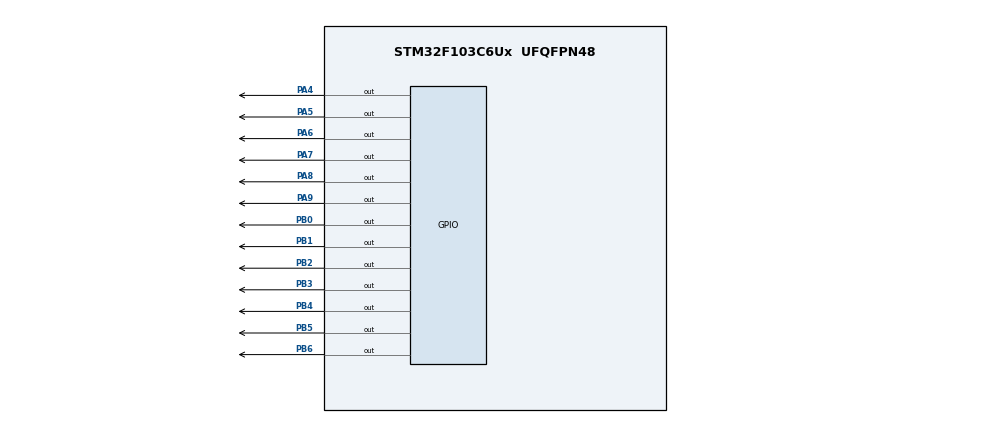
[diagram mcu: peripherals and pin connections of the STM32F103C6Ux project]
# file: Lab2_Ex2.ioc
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Mcu.Family=STM32F1
Mcu.Name=STM32F103C6Ux
Mcu.Package=UFQFPN48
NVIC.PriorityGroup=NVIC_PRIORITYGROUP_4
NVIC.TIM2_IRQn=true\:0\:0\:false\:false\:true\:true\:true
PA4.Signal=GPIO_Output
PA5.Signal=GPIO_Output
PA6.Signal=GPIO_Output
PA7.Signal=GPIO_Output
PA8.Signal=GPIO_Output
PA9.Signal=GPIO_Output
PB0.Signal=GPIO_Output
PB1.Signal=GPIO_Output
PB2.Signal=GPIO_Output
PB3.Signal=GPIO_Output
PB4.Signal=GPIO_Output
PB5.Signal=GPIO_Output
PB6.Signal=GPIO_Output
ProjectManager.HeapSize=0x200
ProjectManager.StackSize=0x400
ProjectManager.TargetToolchain=STM32CubeIDE
RCC.APB1Freq_Value=8000000
RCC.APB2Freq_Value=8000000
TIM2.Period=9
TIM2.Prescaler=7999
VP_SYS_VS_ND.Mode=No_Debug
VP_TIM2_VS_ClockSourceINT.Mode=Internal
board=custom

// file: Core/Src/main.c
/* USER CODE BEGIN Header */
/**
  ******************************************************************************
  * @file           : main.c
  * @brief          : Main program body
  ******************************************************************************
  * @attention
  *
  * <h2><center>&copy; Copyright (c) 2022 STMicroelectronics.
  * All rights reserved.</center></h2>
  *
  * This software component is licensed by ST under BSD 3-Clause license,
  * the "License"; You may not use this file except in compliance with the
  * License. You may obtain a copy of the License at:
  *                        opensource.org/licenses/BSD-3-Clause
  *
  ******************************************************************************
  */
/* USER CODE END Header */
#include "main.h"

/* USER CODE BEGIN Includes */
#include "Led7segment.h"
/* USER CODE END Includes */

TIM_HandleTypeDef htim2;

void SystemClock_Config(void);
static void MX_GPIO_Init(void);
static void MX_TIM2_Init(void);

int main(void)
{

  /* MCU Configuration--------------------------------------------------------*/

  /* Reset of all peripherals, Initializes the Flash interface and the Systick. */
  HAL_Init();

  /* Configure the system clock */
  SystemClock_Config();

  /* Initialize all configured peripherals */
  MX_GPIO_Init();
  MX_TIM2_Init();
  /* USER CODE BEGIN 2 */
  HAL_TIM_Base_Start_IT (& htim2 );
  /* USER CODE END 2 */

  /* Infinite loop */
  while (1)
  {

  }
}

void SystemClock_Config(void)
{
  RCC_OscInitTypeDef RCC_OscInitStruct = {0};
  RCC_ClkInitTypeDef RCC_ClkInitStruct = {0};

  /** Initializes the RCC Oscillators according to the specified parameters
  * in the RCC_OscInitTypeDef structure.
  */
  RCC_OscInitStruct.OscillatorType = RCC_OSCILLATORTYPE_HSI;
  RCC_OscInitStruct.HSIState = RCC_HSI_ON;
  RCC_OscInitStruct.HSICalibrationValue = RCC_HSICALIBRATION_DEFAULT;
  RCC_OscInitStruct.PLL.PLLState = RCC_PLL_NONE;
  if (HAL_RCC_OscConfig(&RCC_OscInitStruct) != HAL_OK)
  {
    Error_Handler();
  }
  /** Initializes the CPU, AHB and APB buses clocks
  */
  RCC_ClkInitStruct.ClockType = RCC_CLOCKTYPE_HCLK|RCC_CLOCKTYPE_SYSCLK
                              |RCC_CLOCKTYPE_PCLK1|RCC_CLOCKTYPE_PCLK2;
  RCC_ClkInitStruct.SYSCLKSource = RCC_SYSCLKSOURCE_HSI;
  RCC_ClkInitStruct.AHBCLKDivider = RCC_SYSCLK_DIV1;
  RCC_ClkInitStruct.APB1CLKDivider = RCC_HCLK_DIV1;
  RCC_ClkInitStruct.APB2CLKDivider = RCC_HCLK_DIV1;

  if (HAL_RCC_ClockConfig(&RCC_ClkInitStruct, FLASH_LATENCY_0) != HAL_OK)
  {
    Error_Handler();
  }
}

static void MX_TIM2_Init(void)
{

  TIM_ClockConfigTypeDef sClockSourceConfig = {0};
  TIM_MasterConfigTypeDef sMasterConfig = {0};

  htim2.Instance = TIM2;
  htim2.Init.Prescaler = 7999;
  htim2.Init.CounterMode = TIM_COUNTERMODE_UP;
  htim2.Init.Period = 9;
  htim2.Init.ClockDivision = TIM_CLOCKDIVISION_DIV1;
  htim2.Init.AutoReloadPreload = TIM_AUTORELOAD_PRELOAD_DISABLE;
  if (HAL_TIM_Base_Init(&htim2) != HAL_OK)
  {
    Error_Handler();
  }
  sClockSourceConfig.ClockSource = TIM_CLOCKSOURCE_INTERNAL;
  if (HAL_TIM_ConfigClockSource(&htim2, &sClockSourceConfig) != HAL_OK)
  {
    Error_Handler();
  }
  sMasterConfig.MasterOutputTrigger = TIM_TRGO_RESET;
  sMasterConfig.MasterSlaveMode = TIM_MASTERSLAVEMODE_DISABLE;
  if (HAL_TIMEx_MasterConfigSynchronization(&htim2, &sMasterConfig) != HAL_OK)
  {
    Error_Handler();
  }

}

static void MX_GPIO_Init(void)
{
  GPIO_InitTypeDef GPIO_InitStruct = {0};

  /* GPIO Ports Clock Enable */
  __HAL_RCC_GPIOA_CLK_ENABLE();
  __HAL_RCC_GPIOB_CLK_ENABLE();

  /*Configure GPIO pin Output Level */
  HAL_GPIO_WritePin(GPIOA, GPIO_PIN_4|GPIO_PIN_5|GPIO_PIN_6|GPIO_PIN_7
                          |GPIO_PIN_8|GPIO_PIN_9, GPIO_PIN_RESET);

  /*Configure GPIO pin Output Level */
  HAL_GPIO_WritePin(GPIOB, GPIO_PIN_0|GPIO_PIN_1|GPIO_PIN_2|GPIO_PIN_3
                          |GPIO_PIN_4|GPIO_PIN_5|GPIO_PIN_6, GPIO_PIN_RESET);

  /*Configure GPIO pins : PA4 PA5 PA6 PA7
                           PA8 PA9 */
  GPIO_InitStruct.Pin = GPIO_PIN_4|GPIO_PIN_5|GPIO_PIN_6|GPIO_PIN_7
                          |GPIO_PIN_8|GPIO_PIN_9;
  GPIO_InitStruct.Mode = GPIO_MODE_OUTPUT_PP;
  GPIO_InitStruct.Pull = GPIO_NOPULL;
  GPIO_InitStruct.Speed = GPIO_SPEED_FREQ_LOW;
  HAL_GPIO_Init(GPIOA, &GPIO_InitStruct);

  /*Configure GPIO pins : PB0 PB1 PB2 PB3
                           PB4 PB5 PB6 */
  GPIO_InitStruct.Pin = GPIO_PIN_0|GPIO_PIN_1|GPIO_PIN_2|GPIO_PIN_3
                          |GPIO_PIN_4|GPIO_PIN_5|GPIO_PIN_6;
  GPIO_InitStruct.Mode = GPIO_MODE_OUTPUT_PP;
  GPIO_InitStruct.Pull = GPIO_NOPULL;
  GPIO_InitStruct.Speed = GPIO_SPEED_FREQ_LOW;
  HAL_GPIO_Init(GPIOB, &GPIO_InitStruct);

}

/* USER CODE BEGIN 4 */
int counter =50;
int EN = 0;
const int MAX_LED = 4;
int index_led = 0;
int led_buffer [4] = {1 , 2, 3, 0};
void HAL_TIM_PeriodElapsedCallback ( TIM_HandleTypeDef * htim )
{
	counter --;
	if( counter <= 0) {
		counter = 50;
		HAL_GPIO_WritePin(GPIOA, GPIO_PIN_5, RESET);
		HAL_GPIO_TogglePin(GPIOA, GPIO_PIN_4);
		switch( EN ){
			case 0:
				//Display the first
				displaySeg7(led_buffer[index_led]);
				HAL_GPIO_WritePin(GPIOA, GPIO_PIN_6, RESET);
				HAL_GPIO_WritePin(GPIOA, GPIO_PIN_7, SET);
				HAL_GPIO_WritePin(GPIOA, GPIO_PIN_8, SET);
				HAL_GPIO_WritePin(GPIOA, GPIO_PIN_9, SET);
				EN++;
				index_led++;
				break;
			case 1:
				//Display the second
				displaySeg7(led_buffer[index_led]);
				HAL_GPIO_WritePin(GPIOA, GPIO_PIN_6, SET);
				HAL_GPIO_WritePin(GPIOA, GPIO_PIN_7, RESET);
				HAL_GPIO_WritePin(GPIOA, GPIO_PIN_8, SET);
				HAL_GPIO_WritePin(GPIOA, GPIO_PIN_9, SET);
				EN++;
				index_led++;
				break;
			case 2:
				//Display the third
				displaySeg7(led_buffer[index_led]);
				HAL_GPIO_WritePin(GPIOA, GPIO_PIN_6, SET);
				HAL_GPIO_WritePin(GPIOA, GPIO_PIN_7, SET);
				HAL_GPIO_WritePin(GPIOA, GPIO_PIN_8, RESET);
				HAL_GPIO_WritePin(GPIOA, GPIO_PIN_9, SET);
				EN++;
				index_led++;
				break;
			case 3:
				//Display the forth
				displaySeg7(led_buffer[index_led]);
				HAL_GPIO_WritePin(GPIOA, GPIO_PIN_6, SET);
				HAL_GPIO_WritePin(GPIOA, GPIO_PIN_7, SET);
				HAL_GPIO_WritePin(GPIOA, GPIO_PIN_8, SET);
				HAL_GPIO_WritePin(GPIOA, GPIO_PIN_9, RESET);
				EN=0;
				index_led=0;
				break;
			default:
				HAL_GPIO_WritePin(GPIOA, GPIO_PIN_6, SET);
				HAL_GPIO_WritePin(GPIOA, GPIO_PIN_7, SET);
				HAL_GPIO_WritePin(GPIOA, GPIO_PIN_8, SET);
				HAL_GPIO_WritePin(GPIOA, GPIO_PIN_9, SET);
				EN=0;
				index_led=0;
				break;
		}

	}
}
/* USER CODE END 4 */

void Error_Handler(void)
{
  __disable_irq();
  while (1)
  {
  }
}

/************************ (C) COPYRIGHT STMicroelectronics *****END OF FILE****/
